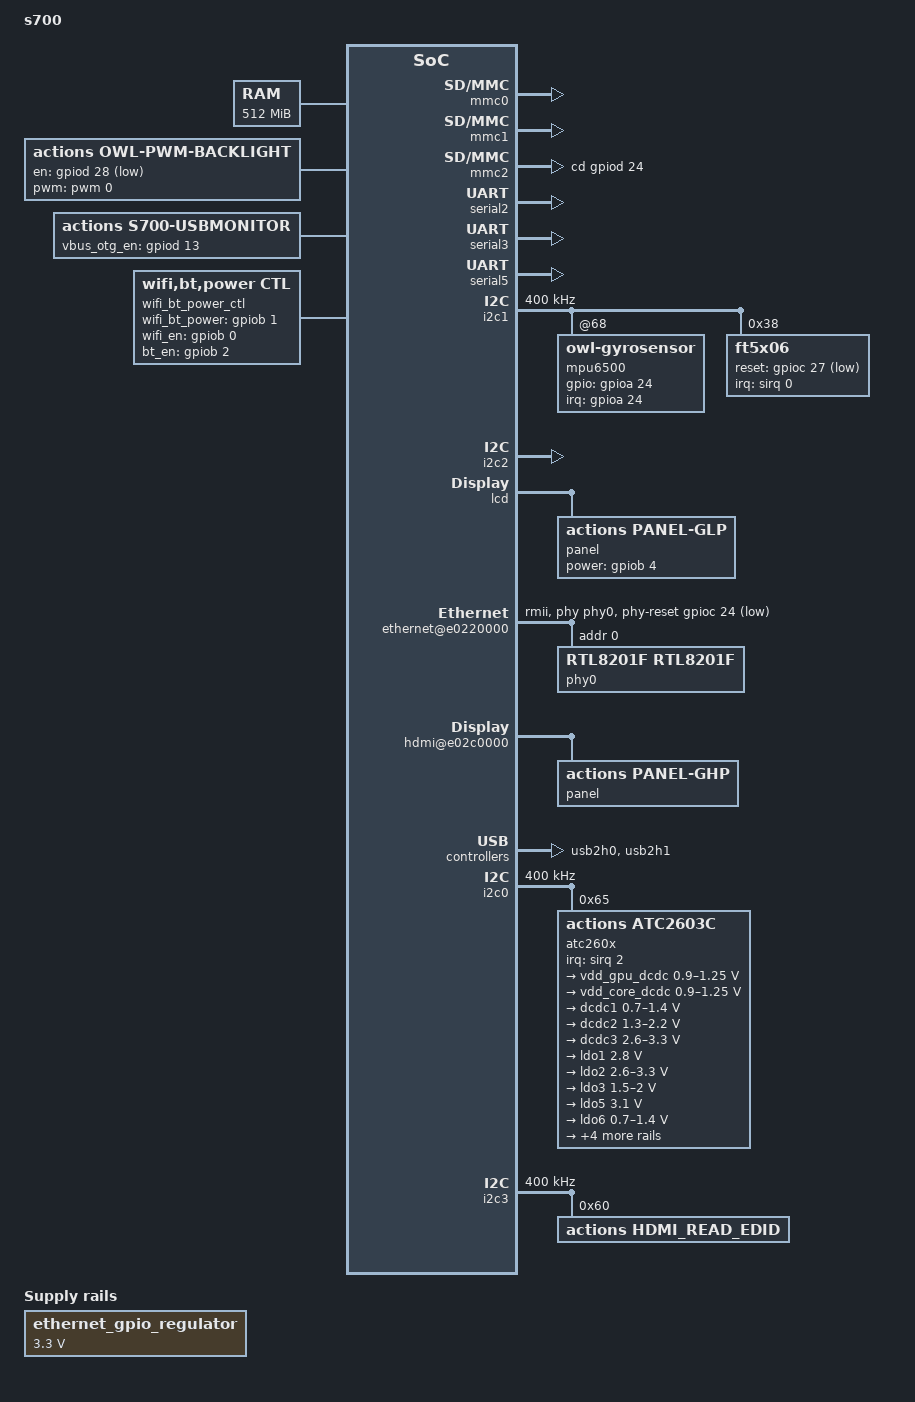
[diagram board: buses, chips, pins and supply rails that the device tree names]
/*
 * Copyright (C) 2014 Actions Semi. Inc
 *
 * This program is free software; you can redistribute it and/or
 * modify it under the terms of the GNU General Public License as
 * published by the Free Software Foundation version 2.
 *
 * This program is distributed "as is" WITHOUT ANY WARRANTY of any
 * kind, whether express or implied; without even the implied warranty
 * of MERCHANTABILITY or FITNESS FOR A PARTICULAR PURPOSE.  See the
 * GNU General Public License for more details.
 */

/dts-v1/;

/* reserve 48MB for logo(fb) */
/memreserve/ 0x19000000 0x03000000;

/* reserve 430MB for ion1(pmem) */
/memreserve/ 0x20000000 0x1AE00000;

/* reserve 4k for afinfo */
/memreserve/ 0x18FFF000 0x1000;

#include "s700.dtsi"

/ {
	model = "s700";
	compatible = "actions,s700";

	chosen {
		bootargs="fb_logo_reserve=0x19000000,0x03000000 console=ttyS3,115200 earlyprintk=serial-owl,0xe0126000 no_console_suspend";
	};

	memory@00000000 {
		device_type = "memory";
		reg = <0 0x00000000 0 0x20000000>;
	};

	ion_config {
		compatible = "actions,s900-ion";
		actions,ion_heap_pmem_base = <0x0 0x20000000>;
		actions,ion_heap_pmem_size = <0x0 0x1AE00000>;
	};

	mmc0: mmc@e0218000 {
		card-type = "emmc";
		status = "okay";
	};

	mmc1: mmc@e0214000 {
		card-type = "wifi";
		//wifi-card-voltage = "1.8v";  /* only: "1.8v", "3.1v",5211 sd1 not support 1.8v */
		status = "okay";
	};

	mmc2: mmc@e0210000 {
		card-type = "memory";  /* only: "memory", "wifi", or "emmc" */
		card-detect-mode = "gpio";  /* only:"gpio", or "command" */
		cd-gpios = <&gpiod 24 0>; /*hr280ac GPIOD24 */
		sd_vcc = "switch1";
		status = "okay";
	};

	serial2: uart@e0124000 {
		dmas = <&dma DMA_DRQ_UART2_TX>, <&dma DMA_DRQ_UART2_RX>;
		dma-names = "tx", "rx";
		status = "okay";
		pinctrl-names = "default";
		pinctrl-0 = <&serial2_state_default>;
	};

	serial3: uart@e0126000 {
		status = "okay";
	};

	serial5: uart@e012a000 {
		status = "okay";
	};

	i2c1: i2c@e0174000 {
		clock-frequency = <400000>;
		status = "okay";
		mpu6500@68 {
		compatible = "owl-gyrosensor";
		interrupt-parent = <&gpioa>;
		interrupts = <24>;
		gpios = <&gpioa 24 0>; /* GPIOA24 */
		i2c_adapter_id = <1>;
		/*gyro_vcc = "ldo7";*/
		/*vol_range = <1800000 1810000>;*/
		MASTER_inv6500_position = "3";
		SECONDARY_ak8963c_position = "3";
		};
		
		ft5x06@38 {
			compatible = "ft5x06";
			reg = <0x38>;
			tp_vcc = "ldo5";
			reset_gpios = <&gpioc 27 1>; /*GPIOB(3) 0: high, 1: low*/
			max_points = <10>;
			x_pixel = <1024>;
			y_pixel = <600>;
			x_revert_en = <0>;
			y_revert_en = <1>;
			xy_swap_en = <0>;
			rotate_degree = <270>;  /* 0 90 180 270 */
    		interrupt-parent = <&sirq>;
    		interrupts =< 0 0x4 >; /*SIRQ0*/
			vol_range = <3100000 3110000>;
		};
	};

	i2c2: i2c@e0178000 {
		status = "okay";
	};


	pwm: pwm@e01b0000 {
		pwm0 {
			id = <0>;
			pinctrl-names = "default";
			pinctrl-0 = <&pwm0_state_default>;
		};
		pwm1 {
			id = <1>;
			pinctrl-names = "default";
			pinctrl-0 = <&pwm1_state_default>;
		};
		pwm2 {
			id = <2>;
			pinctrl-names = "default";
			pinctrl-0 = <&pwm2_state_default>;
		};
	};

	backlight {
		compatible = "actions,owl-pwm-backlight";

		/* GPIOD28, active high */
		en-gpios = <&gpiod 28 1>;

		/*1.pwm num; 2. period in ns; */
		/*3.plarity, 0: high active, 1: low active*/
		pwms = <&pwm 0 50000 1>;

		total_steps = <1024>;
		min_brightness = <100>;
		max_brightness = <1000>;
		dft_brightness = <500>;

		delay_bf_pwm = <0>; /*in ms*/
		delay_af_pwm = <20>; /*in ms*/
	};

	dsi: dsi@e0310000 {
		status = "disabled";
	};

	lcd: lcd@e02a0000 {
	
	
		pinctrl-names = "default";
		pinctrl-0 = <&lcd0_state_default>;

		panel_configs = <&config0>;
		/*
		 * lcd_configs, used to configure lcd controller,
		 * its values should set according to lcd panel's spec.
		 * Currently, the configration is for fpga panel.
		 */
		config0: lcd_configs {
			port_type = <0>;	/* 0, RGB; 1, CPU; 2, LVDS; 3, EDP */

			vsync_inversion = <0>;
			hsync_inversion = <0>;
			dclk_inversion = <0>;
			lde_inversion = <0>;

			pclk_parent = <0>;	/* 0, DISPLAY PLL; 1, NAND PLL */
			pclk_rate = <60000000>;/* 72MHz, DISPLAY PLL, divider 10 */
		};

		/* lcd panel */
		panel@glp {
			compatible = "actions,panel-glp";

			/* panel's fixed info */
			width_mm = <197>;
			height_mm = <147>;
			bpp = <24>;

			is_primary = <0>;

			/* operation delay in ms */
			power_on_delay = <0>;
			power_off_delay = <0>;
			enable_delay = <0>;
			disable_delay = <0>;

			power-gpio = <&gpiob 4 0>; /*GPIOA23, high power on */

			videomode-0 = <&mode0>;

			/* 800x1280p60 */
			mode0: videomode {
				refresh_rate = <60>;

				xres = <1024>;
				yres = <600>;
				/*
				 * pclk_rate = 66M
				 * pixel_clock = picoseconds / pclk_rate
				 */
				pixel_clock = <20000>;

				hsw = <20>;
				hbp = <138>;
				hfp = <162>;

				vsw = <3>;
				vbp = <22>;
				vfp = <10>;

				/* 0: FB_VMODE_NONINTERLACED, 1:FB_VMODE_INTERLACED */
				vmode = <0>;
			};
		};
	};

	ethernet_gpio_regulator: ethernet_gpio_regulator {
		compatible = "regulator-fixed";
		regulator-name = "ethernet_gpio_regulator";
		regulator-min-microvolt = <3300000>;
		regulator-max-microvolt = <3300000>;
		//gpio = <&gpioc 21 0>;
		enable-active-high;
	};


	ethernet@e0220000 {
		pinctrl-names = "default";
		pinctrl-0 = <&ethernet_state_default>;
		compatible = "actions,s700-ethernet";/*actions,s700-ethernet*/
		random-mac-address = "okay";
		//local-mac-address = [ 00 18 fe 66 66 66 ];
		phy-mode = "rmii";
		phy-handle = <&phy0>;
		phy-power-en = "ethernet_gpio_regulator";
		phy-reset-gpios = <&gpioc 24 0>; 	// GPIOC20 active  1:low  0:high

		phy-addr = "1";
		address-bits = <48>;
		max-frame-size = <1518>;
		status = "okay";
		phy0: ethernet-phy@0 {
			compatible = "RTL8201F,rtl8201f";/*rtl8211-1000M*/
			reg = <0>;
		};
	};

	hdmi@e02c0000 {
		hdcp_onoff = <0>;
		channel_invert = <0>;
		bit_invert = <0>;

		panel@ghp {
			compatible = "actions,panel-ghp";

			is_primary = <1>;

			videomode-0 = <&default_mode>;

			/* default mode used when EDID read error */
			default_mode: videomode {
				refresh_rate = <60>;

				xres = <1920>;
				yres = <1080>;
			};
		};
	};

	monitor {
		compatible = "actions,s700-usbmonitor";
		detect_type = <3>; /* config what to detect, 0:DISABLE ; 1:DEVICE_ONLY; 2:HOST_ONLY; 3: HOST_AND_DEVICE*/
		idpin_type   = <0>; /* 0:use ic's idpin;      1:soft idpin,##no support!##;       2:gpio idpin,use gpio to detect,need to add a "idpin_gpio" configuration */
		vbus_type   = <2>; /* 0:use ic's vbuspin; 1:gpio vbus,##no support!## ;      2:use dc5v to detect vbus level*/

		/*vbus_otg_en_gpio is use to turn on/off otg vbus,it's different from vbus detect gpio;*/
		vbus_otg_en_gpios = <&gpiod 13 0>;  /* GPIOD13,  1: low active; 0: high active */
		//idpin_gpio = <&gpiob 31 1>;   /*if idpin detect by gpio,config the gpio to GPIOB31, input,0: low active; 1: high active*/
		status = "okay";
	};

	/* NOTE: it is only used for some specific boards, be careful! */
	usb3_phy: usb3phy@0xe040cd00 {
		fix_vbus_reset = <1>;
		status = "okay";
	};

	owl_usb_config {
		compatible = "actions,owl-usb-config";
		usb_serialnumber_config = <1>; /* config serialnumber string format, 0: fixed serial no in ascii format; 1: fixed serial no in unicode format; 2:non-fixed serial no in unicode format*/
		usb_hs_output_strength = <3>; /*defaut:3,range:0~7; 0:min,7:max;usb high speed(2.0)transmitter output strength*/
		status = "okay";
	};

 	usb2h0: usb@e01d0000 {
		port_host_plug_detect = <2>; /*0:disable 1:enable detect and vbus contrl 2:only detect 3:enable detect and usb0 and usb1 use the same gpio*/
		status = "okay";
	};

	usb2h1: usb@e01d8000 {
		//vbus_otg_en_gpio =<&gpiod 20 0>; /*GPIO D20 1:high enable vubs,0:low enable vbus*/
		port_host_plug_detect = <2>; /*0:disable,for wifi/bt module 1:enable detect and vbus contrl 2:only detect 3:enable detect and usb0 and usb1 use the same gpio*/
		status = "okay";
	};

	wifi_bt_power_ctl {
		compatible = "wifi,bt,power,ctl";
		wifi_bt_power_gpios = <&gpiob 1 0>;  		/* GPIOB1, high active */
		wifi_en_gpios= <&gpiob 0 0>;				/* GPIOCB0, high active */
		bt_en_gpios = <&gpiob 2 0>; 				/* GPIOB2 high active */
		#bt_wake_gpio = <&gpiob 15 0>; 				/* GPIOB15 */
		#wifi_wakeup_host_gpios = <&gpiod 19 0>; 	/* GPIOD19 */
	};

		i2c0: i2c@e0170000 {
		i2c_num = <0>;
		clock-frequency = <400000>;
		status = "okay";
		/* atc2603c (5307) */
		atc260x: atc2603c@65 {
			compatible = "actions,atc2603c";
			reg = <0x65>;
			interrupt-parent = <&sirq>;
			interrupts =< 2 0x4 >;
			interrupt-controller;
			#interrupt-cells = <1>;

			losc_32k_output_enable = <1>;    /* enable/disable output 32.768K clock via I2S_MCLK1 pin */
			losc_32k_output_voltage = <18>;  /* select voltage scale of the 32.768K clock output, 18:1.8v, 31:3.1v */

			pm {
				compatible = "actions,atc2603c-pm";
			};

			onoff {
				compatible = "actions,atc2603c-onoff";
			};

			rtc{
				compatible = "actions,atc2603c-rtc";
			};

			atc260x_gpio: atc260x_gpio {
				compatible = "actions,atc2603c-gpio";
				gpio-controller;
				#gpio-cells = <2>;
			};

			atc260x_sgpio: atc260x_sgpio {
				compatible = "actions,atc2603c-sgpio";
				gpio-controller;
				#gpio-cells = <2>;
				interrupt-controller;
				#interrupt-cells = <2>;
			};

			atc260x-adckeypad{
#define KEY_HOME				172
#define KEY_MENU				139
#define KEY_BACK				158
#define KEY_VOLUMEDOWN				114
#define KEY_VOLUMEUP				115
				keymapsize = <5>;                   /* number of ADC key */
				filter_dep = <3>;                   /* depth of the moving average filter (length of filter queue) */
				variance = <10>;                    /* filter will not output until the difference between every two ADC samples in the filter queue goes below this value */
				poll_interval =  <10>;              /* sample period, in ms */
				left_adc_val =  <0 90 175 270 400>;     /* for key code translator, each value defines a lower bound of ADC value of a key */
				right_adc_val = <30 120 220 320 450>;   /* for key code translator, each value defines a upper bound of ADC value of a key */
				key_val = <KEY_HOME KEY_MENU KEY_VOLUMEUP KEY_VOLUMEDOWN KEY_BACK>; /* for key code translator, each value defines the key_code of a key */
				adc_channel_name = "AUX0";          /* the ADC channel used for sampling, valid names are REMCON AUX0 AUX1 AUX2 (AUX3) */
				compatible = "actions,atc2603c-adckeypad";
				status = "okay";                /* enable/disable ADC key function (okay or disabled) */
			};
			atc260x-irkeypad{
				compatible = "actions,atc2603c-irkeypad";
				status = "okay";
				config {
					size = <31>;
					user_code = <0xff00>;
					protocol = <1>;
					wk_code = <0x18>;
					period = <140>;
					ir_code  =<0x18 0x5b 0x52 0x50 0x14 0x10 0x46 0x16 0x47 0x15 0x55 0x4 0x4f 0x4e 0x40 0x1e 0xf 0x11 0x12 0x4c 0x58 0x1b 0x17 0x4d 0xa 0x1d 0x1c 0x5a 0xd 0x6 0x2>;
					key_code =<116 113 372 169 115 114 103 108 105 106 353 175 172 139 158 14 2 3 4 5 6 7 8 9 10 11 52 398 399 400 401>;
				};
				config-1 {
					size = <45>;
					user_code = <0xff40>;
					protocol = <1>;
					wk_code = <0x4D>;
					period = <140>;
					ir_code  =<0x0 0x01 0x02 0x03 0x04 0x05 0x06 0x07 0x08 0x09  0x0A  0x0B  0x0C  0x0D  0x0E  0x0F  0x10 0x11  0x12 0x13 0x14 0x15  0x16 0x17 0x18 0x19 0x1A  0x1B 0x1C  0x1D 0x1E 0x1F 0x40 0x41 0x42  0x43  0x44 0x45  0x46 0x47 0x4D  0x53 0x54  0x57 0x5B>;
					key_code =<11   2   3    4    5    6    7    8    9 	 10 	 100    103  126   353   108   52    105  106    14   60   63  115    80   61   65   76   172   78   114   97   79   75   77  81   158    113  65   139   64   71   116   72   175   82   73>;
				};
			};

			/*the cfg params must be read	in the first installed ko,
			 now snd-soc-atv5302.ko is first installed.
			 1, earphone_detect_level use the third value of earphone_gpios
			 2, commonly, we shouldn't change the value of speaker_gain and earphone_gain*/
			atc260x-audio{
				compatible = "actions,atc2603c-audio";
				status = "okay";
				pinctrl-names = "default";
				pinctrl-0 = <&i2s0_state_default>;
				clocks = <&clock CLK_AUDIO_PLL>, <&clock CLK_HDMI_AUDIO>;//
				clock-names = "audio_pll", "hdmia";//
				//earphone_detect_gpios = <&gpio 21 0>; /*0: high, 1: low GPIOA21 0*/
				speaker_en_gpios = <&gpiod 30 0>; /*GPIOD(30) 0: high, 1: low*/
				earphone_output_mode = <1>; /*0: direct mode, 1: undirect mode*/
				mic_num = <1>; /*just suport 1, 2*/
				mic0_gain = < 0x7 0x7 >; /*<Lchannel,Rchannel> [0x0~0xF]*/
				speaker_gain = < 0xaa 0xaa >; /*<Lchannel,Rchannel>[0x00~0xbebe]*/
				earphone_gain = < 0xbe 0xbe >; /*<Lchannel,Rchannel>[0x00~0xbebe]*/
				mic_mode = <2>; /* 1: differential,  2: single end*/
				speaker_volume = < 0x28 0x28 >; /*volume [0x00~0x28]*/
				earphone_volume = < 0x28 0x28 >; /*volume [0x00~0x28]*/
				earphone_detect_method = <2>; /*0:gpio, 1:irq, 2:adc*/
				adc_plugin_threshold = <850>; /*adc earphone detect plugin threshold value*/
				adc_level = <0>; /*adc plugin level, 1:high vol when plugin; 0:low vol when plug in*/
			};

			atc260x-hwmon{
				compatible = "actions,atc2603c-hwmon";
			};

			atc260x-charger{
				compatible = "actions,atc2603c-charger";
				rsense = <20>;/*unit:mohm*/
				bat_type = <1>;/*0:4.18v; 1:4.2v; 2:4.3v; 3:4.35v*/
				bl_on_current_usb_pc = <200>;
				bl_off_current_usb_pc = <500>;
				bl_on_current_usb_adp = <400>;
				bl_off_current_usb_adp = <800>;
				bl_on_current_wall_adp = <400>;
				bl_off_current_wall_adp = <1400>;
				support_adaptor_type = <3>; /*1: DCIN  2: USB  3:DCIN+USB*/
				ext_charger = <0>;
				usb_adapter_as_ac = <1>;/*0:usb ada keep itself; 1:usb ada used as DCIN when usb plug and batv<3.3v during minicharge*/
				usb_pc_ctl_mode = <2>; /*0:disable vbus ctl;1:current limited;2:voltage limited*/
			};
			atc2603c-battery{
				compatible = "actions,atc2603c-battery";
				capacity = < 5300 >;                              /*mAh, the full capacity of battery used*/
				taper_voltage = < 4180 >;                         /*mV,the one close to the full capacity*/
				taper_current = <300>; 
				min_over_chg_protect_voltage = < 4275 >;				/*mA,the one close to the full capacity*/
				terminal_voltage = <3550>;                        /*mV,the lowest voltage of battery permitted*/
				suspend_current = < 17000 >;                       /* uA,the current of suspend*/
				shutdown_current = < 50 >;                        /* uA,the current of shutdown*/
				print_switch = <0>;                               /*0:open the switch of printing information 1:the opposite*/
				log_switch = <0>;                                 /*0:open the switch of recording charging log 1:the opposite*/
				support_battery_temperature = <0>;				/*0:not support 1:support*/
				ocv_soc_00 = <3477 3534 3591 3624 3637 3649 3661 3667 3673 3677>;    	 /* capacity:from 1% to 10%*/
				ocv_soc_10 = <3682 3685 3690 3693 3700 3706 3712 3716 3722 3728 >;	 /* capacity:from 11% to 20%*/
				ocv_soc_20 = <3732 3736 3739 3744 3747 3751 3755 3758 3761 3765>;	 /* capacity:from 21% to 30%*/
				ocv_soc_30 = <3768 3771 3775 3777 3782 3784 3788 3791 3793 3794 >;	 /* capacity:from 31% to 40%*/
				ocv_soc_40 = <3800 3801 3804 3807 3812 3815 3819 3823 3825 3830>;	 /* capacity:from 41% to 50%*/
				ocv_soc_50 = <3834 3838 3841 3845 3850 3854 3858 3864 3870 3874>;	 /* capacity:from 51% to 60%*/
				ocv_soc_60 = <3880 3889 3895 3902 3908 3916 3926 3933 3940 3947>;	 /* capacity:from 61% to 70%*/
				ocv_soc_70 = <3954 3961 3968 3972 3979 3985 3992 3997 4005 4012>;	 /* capacity:from 71% to 80%*/
				ocv_soc_80 = <4019 4028 4036 4046 4054 4061 4068 4075 4084 4090>;	 /* capacity:from 81% to 90%*/
				ocv_soc_90 = <4099 4107 4115 4126 4132 4141 4152 4160 4170 4180>;	 /* capacity:from 91% to 100%*/
			/*
				ocv_soc_00 = <3498 3558 3601 3630 3647 3653 3658 3662 3666 3668>;
				ocv_soc_10 = <3670 3676 3682 3689 3698 3699 3703 3707 3711 3715 >;
				ocv_soc_20 = <3720 3724 3728 3731 3734 3738 3741 3745 3748 3751>;
				ocv_soc_30 = <3754 3757 3761 3765 3768 3771 3775 3778 3780 3784 >;
				ocv_soc_40 = <3788 3793 3797 3802 3805 3810 3815 3819 3824 3830>;
				ocv_soc_50 = <3835 3841 3847 3853 3859 3866 3874 3881 3888 3896>;
				ocv_soc_60 = <3904 3911 3918 3923 3928 3935 3944 3954 3965 3980>;
				ocv_soc_70 = <3995 4008 4018 4026 4035 4043 4052 4062 4072 4083>;
				ocv_soc_80 = <4094 4105 4115 4126 4138 4148 4159 4170 4181 4191>;
				ocv_soc_90 = <4202 4213 4224 4235 4247 4258 4271 4285 4306 4330>;
			*/
			};

			vdd_gpu_dcdc: vdd-gpu-dcdc {
				compatible = "actions,atc2603c-ext-pwm-dcdc1","actions,atc2603c-ext-pwm-dcdc";
				regulator-name = "vdd-gpu-dcdc";
				regulator-min-microvolt  = <900000>;
				regulator-max-microvolt = <1250000>;
				regulator-always-on;
				pwms = <&pwm 1 2666 0>;	// 1-pwm1   2666-1/(24M/64)*1000000-1   0 -active high
				table_len = < 8 >;			//length of vdd_cpu_table & pwm_config_table
				vdd_cpu_table = <1050000 1075000 1100000 1125000 1150000 1175000 1200000 1250000>;	//uV
				pwm_config_table = <42 37 31 26 20 14 9 0>;
			};

			vdd_core_dcdc: vdd-core-dcdc {
				compatible = "actions,atc2603c-ext-pwm-dcdc2","actions,atc2603c-ext-pwm-dcdc";
				regulator-name = "vdd-core-dcdc";
				regulator-min-microvolt  = <900000>;
				regulator-max-microvolt = <1250000>;
				regulator-always-on;
				pwms = <&pwm 2 2666 0>;	// 1-pwm1   2666-1/(24M/64)*1000000-1   0 -active high
				table_len = < 5 >;			//length of vdd_cpu_table & pwm_config_table
				vdd_cpu_table = <1100000 1125000 1150000 1175000 1200000>;	//uV
				pwm_config_table = <55 43 33 18 13>;
			};

			dcdc1: dcdc1 {
				compatible = "actions,atc2603c-dcdc1","actions,atc2603c-dcdc";
				regulator-name = "dcdc1";
				regulator-min-microvolt = <700000>;
				regulator-max-microvolt = <1400000>;
				regulator-always-on;
			};

			dcdc2: dcdc2 {
				compatible = "actions,atc2603c-dcdc2","actions,atc2603c-dcdc";
				regulator-name = "dcdc2";
				regulator-min-microvolt = <1300000>;
				regulator-max-microvolt = <2200000>;
				regulator-always-on;
			};

			dcdc3: dcdc3 {
				compatible = "actions,atc2603c-dcdc3","actions,atc2603c-dcdc";
				regulator-name = "dcdc3";
				regulator-min-microvolt = <2600000>;
				regulator-max-microvolt = <3300000>;
				regulator-always-on;
			};

			dcdc4: dcdc4 {
				status = "disabled";
			};

			dcdc5: dcdc5 {
				status = "disabled";
			};

			ldo1: ldo1{
				compatible = "actions,atc2603c-ldo1","actions,atc2603c-ldo";
				regulator-name = "ldo1";
				regulator-min-microvolt  = <2800000>;
				regulator-max-microvolt = <2800000>;
				regulator-always-on;
			};

			ldo2: ldo2{
				compatible = "actions,atc2603c-ldo2","actions,atc2603c-ldo";
				regulator-name = "ldo2";
				regulator-min-microvolt  = <2600000>;
				regulator-max-microvolt = <3300000>;
				regulator-always-on;
			};

			ldo3: ldo3{
				compatible = "actions,atc2603c-ldo3","actions,atc2603c-ldo";
				regulator-name = "ldo3";
				regulator-min-microvolt  = <1500000>;
				regulator-max-microvolt = <2000000>;
				regulator-always-on;
			};

			ldo4: ldo4{
				status = "disabled";
			};

			ldo5: ldo5{
				compatible = "actions,atc2603c-ldo5","actions,atc2603c-ldo";
				regulator-name = "ldo5";
				regulator-min-microvolt  = <3100000>;
				regulator-max-microvolt = <3100000>;
				regulator-always-on;
			};

			ldo6: ldo6{
				compatible = "actions,atc2603c-ldo6","actions,atc2603c-ldo";
				regulator-name = "ldo6";
				regulator-min-microvolt  = <700000>;
				regulator-max-microvolt = <1400000>;
				regulator-always-on;
			};

			ldo7: ldo7{
				compatible = "actions,atc2603c-ldo7","actions,atc2603c-ldo";
				regulator-name = "ldo7";
				regulator-min-microvolt  = <1800000>;
				regulator-max-microvolt = <1800000>;
				regulator-always-on;
				regulator-suspend-off;
			};

			ldo8: ldo8{
				compatible = "actions,atc2603c-ldo8","actions,atc2603c-ldo";
				regulator-name = "ldo8";
				regulator-min-microvolt  = <2300000>;
				regulator-max-microvolt = <3300000>;
			};

			ldo9: ldo9{
				status = "disabled";
			};

			ldo10: ldo10{
				status = "disabled";
			};

			ldo11: ldo11{
				compatible = "actions,atc2603c-ldo11","actions,atc2603c-ldo";
				regulator-name = "ldo11";
				regulator-min-microvolt  = <2600000>;
				regulator-max-microvolt = <3300000>;
				regulator-always-on;
			};

			switch1:switch1{
				compatible = "actions,atc2603c-switch1","actions,atc2603c-switch";
				regulator-name = "switch1";
				regulator-min-microvolt  = <3000000>;
				regulator-max-microvolt = <3300000>;
				regulator-always-on;
			};

			switch2:switch2{
				status = "disabled";
			};
		};
	};

	i2c3: i2c@e017c000 {
		i2c_num = <3>;
		clock-frequency = <400000>;
		status = "okay";

		hdmi_read_edid@60 {
			compatible = "actions,hdmi_read_edid";
			reg = <0x60>;
		};
	};

//	isp0: isp@0xe0268000 {
//			mirror_flip = <3>;  /* bit-0:rear camera; bit-1:front camera; 0: no flip,no mirror; 1: no flip,horizontal mirror; 2:vertical flip,no mirror; 3: vertical flip,horizontal mirror */

//			avdd-src = "regulator";  /* only: "gpio", "regulator" */
//		        avdd-regulator = "ldo1"; /* only when vbus-src is "regulator" */
//		        avdd-regulator-scope = <2800000 2810000>;  /* uV */
//		        dvdd-regulator = "ldo7";
//		        dvdd-regulator-scope = <1800000 1810000>;  /* uV */

//			board_type = "evb";/* "ces" or "evb"*/
//			sensors = "dual"; /* "dual", "front" or "rear" */
//			pwdn-rear-gpios = <&gpioc 17 1>; /* GPIOA27 */
//			pwdn-front-gpios = <&gpioc 15 1>; /* GPIOA26 */
//			reset-gpios = <&gpioc 16 1>; /*GPIOB15*/
//			pinctrl-names = "default";
//			pinctrl-0 = <&isp0_state_csi_dvp>;

//			status = "okay"; /* create platform-device */
//		};

		sensors: isp-sensor {
			compatible = "sensor_common";
			i2c_adapter = <&i2c2>;
			status = "disabled";
		};

		thermal0: thermal@e01b00f0 {
			compatible = "actions,gt7-thermal";
			reg = <0 0xe01b00f0 0 0x04>;
			id = <0>;
			//clocks = <&clock CLK_THERMAL_SENSOR>;
			clocks = <&clock CLK_THERMAL_SENSOR>;
			clock-names = "thermal_sensor";
		};

	gpu@e0340000 {
		default_freq = <400>;
		gpuvdd-supply = <&vdd_gpu_dcdc>;
		operating-points = <240000 1050000
							320000 1100000
							400000 1125000>;
	};

	pcm-audio {
		compatible = "actions,pcm-audio";
		status = "okay";
	};
};
